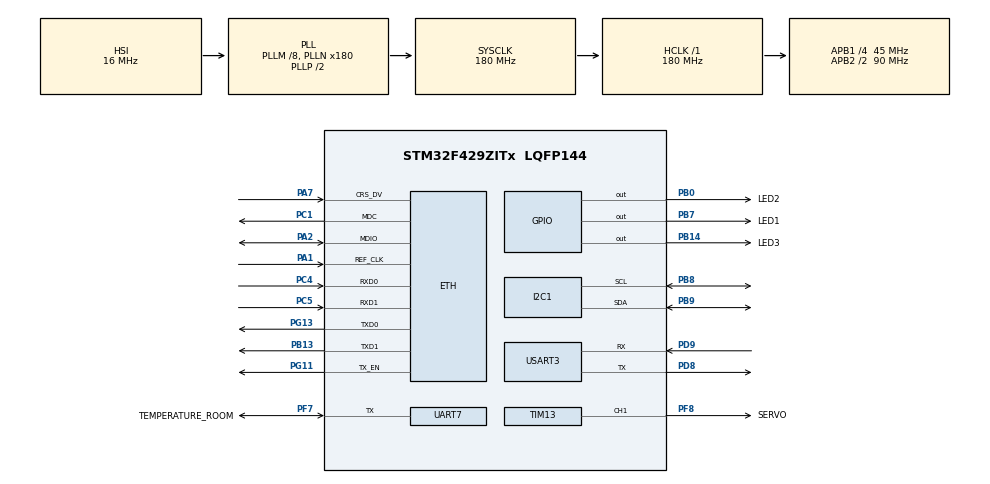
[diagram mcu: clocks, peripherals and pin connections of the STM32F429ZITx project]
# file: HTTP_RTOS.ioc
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ADC1.Channel-2\#ChannelRegularConversion=ADC_CHANNEL_TEMPSENSOR
ADC1.NbrOfConversionFlag=1
ADC1.Rank-2\#ChannelRegularConversion=1
ADC1.SamplingTime-2\#ChannelRegularConversion=ADC_SAMPLETIME_3CYCLES
ADC1.master=1
Dma.I2C1_RX.0.Direction=DMA_PERIPH_TO_MEMORY
Dma.I2C1_RX.0.FIFOMode=DMA_FIFOMODE_DISABLE
Dma.I2C1_RX.0.Instance=DMA1_Stream0
Dma.I2C1_RX.0.MemDataAlignment=DMA_MDATAALIGN_BYTE
Dma.I2C1_RX.0.MemInc=DMA_MINC_ENABLE
Dma.I2C1_RX.0.Mode=DMA_NORMAL
Dma.I2C1_RX.0.PeriphDataAlignment=DMA_PDATAALIGN_BYTE
Dma.I2C1_RX.0.PeriphInc=DMA_PINC_DISABLE
Dma.I2C1_RX.0.Priority=DMA_PRIORITY_LOW
Dma.Request0=I2C1_RX
ETH.MediaInterface=HAL_ETH_RMII_MODE
ETH.RxMode=ETH_RXINTERRUPT_MODE
FREERTOS.BinarySemaphores01=DMA_Semafor,Dynamic,NULL
FREERTOS.Tasks01=defaultTask,0,512,StartDefaultTask,Default,NULL,Dynamic,NULL,NULL;Temperature_TAS,0,512,StartTask02,Default,NULL,Dynamic,NULL,NULL
FREERTOS.configCHECK_FOR_STACK_OVERFLOW=2
FREERTOS.configENABLE_FPU=1
FREERTOS.configMINIMAL_STACK_SIZE=512
FREERTOS.configTOTAL_HEAP_SIZE=32768
FREERTOS.configUSE_NEWLIB_REENTRANT=1
I2C1.I2C_Mode=I2C_Standard
I2C1.NoStretchMode=I2C_NOSTRETCH_DISABLE
LWIP.BSP.number=1
LWIP.CMSIS_VERSION-Enabled=1
LWIP.GATEWAY_ADDRESS=192.168.001.001
LWIP.HTTPD_SERVER_PORT=80
LWIP.HTTPD_USE_CUSTOM_FSDATA=1
LWIP.IP_ADDRESS=192.168.001.048
LWIP.LWIP_DHCP=0
LWIP.LWIP_HTTPD=1
LWIP.LWIP_HTTPD_SSI=0
LWIP.MEM_SIZE=10*1024
LWIP.NETMASK_ADDRESS=255.255.255.000
LWIP.Version=v2.1.2_Cube
LWIP0.BSP.STBoard=false
LWIP0.BSP.api=BSP_COMPONENT_DRIVER
LWIP0.BSP.component=LAN8742
LWIP0.BSP.instance=LAN8742
LWIP0.BSP.name=Driver_PHY
LWIP0.BSP.semaphore=S_LAN8742
LWIP0.BSP.solution=LAN8742
Mcu.Family=STM32F4
Mcu.Name=STM32F429ZITx
Mcu.Package=LQFP144
NVIC.ADC_IRQn=true\:5\:0\:false\:false\:true\:true\:true\:true\:true
NVIC.DMA1_Stream0_IRQn=true\:5\:0\:false\:false\:true\:true\:false\:true\:true
NVIC.ETH_IRQn=true\:5\:0\:false\:false\:true\:true\:false\:true\:true
NVIC.I2C1_EV_IRQn=true\:5\:0\:false\:false\:true\:true\:true\:true\:true
NVIC.PriorityGroup=NVIC_PRIORITYGROUP_4
NVIC.TIM6_DAC_IRQn=true\:15\:0\:false\:false\:true\:false\:false\:true\:true
NVIC.TimeBase=TIM6_DAC_IRQn
NVIC.TimeBaseIP=TIM6
NVIC.USART3_IRQn=true\:5\:0\:false\:false\:true\:true\:true\:true\:true
PA1.Mode=RMII
PA1.Signal=ETH_REF_CLK
PA13.Mode=Trace_Asynchronous_SW
PA13.Signal=SYS_JTMS-SWDIO
PA14.Mode=Trace_Asynchronous_SW
PA14.Signal=SYS_JTCK-SWCLK
PA2.Mode=RMII
PA2.Signal=ETH_MDIO
PA7.Mode=RMII
PA7.Signal=ETH_CRS_DV
PB0.GPIO_Label=LED2
PB0.Signal=GPIO_Output
PB13.Mode=RMII
PB13.Signal=ETH_TXD1
PB14.GPIO_Label=LED3
PB14.Signal=GPIO_Output
PB3.Mode=Trace_Asynchronous_SW
PB3.Signal=SYS_JTDO-SWO
PB7.GPIO_Label=LED1
PB7.Signal=GPIO_Output
PB8.GPIO_Pu=GPIO_PULLUP
PB8.Mode=I2C
PB8.Signal=I2C1_SCL
PB9.GPIO_Pu=GPIO_PULLUP
PB9.Mode=I2C
PB9.Signal=I2C1_SDA
PC1.Mode=RMII
PC1.Signal=ETH_MDC
PC14/OSC32_IN.Mode=LSE-External-Oscillator
PC14/OSC32_IN.Signal=RCC_OSC32_IN
PC15/OSC32_OUT.Mode=LSE-External-Oscillator
PC15/OSC32_OUT.Signal=RCC_OSC32_OUT
PC4.Mode=RMII
PC4.Signal=ETH_RXD0
PC5.Mode=RMII
PC5.Signal=ETH_RXD1
PD8.Mode=Asynchronous
PD8.Signal=USART3_TX
PD9.Mode=Asynchronous
PD9.Signal=USART3_RX
PF7.GPIO_Label=TEMPERATURE_ROOM
PF7.Mode=Half_duplex(single_wire_mode)
PF7.Signal=UART7_TX
PF8.GPIO_Label=SERVO
PF8.Signal=S_TIM13_CH1
PG11.Mode=RMII
PG11.Signal=ETH_TX_EN
PG13.Mode=RMII
PG13.Signal=ETH_TXD0
PH0/OSC_IN.Mode=HSE-External-Clock-Source
PH0/OSC_IN.Signal=RCC_OSC_IN
PH1/OSC_OUT.Mode=HSE-External-Clock-Source
PH1/OSC_OUT.Signal=RCC_OSC_OUT
ProjectManager.HeapSize=0x200
ProjectManager.StackSize=0x400
ProjectManager.TargetToolchain=STM32CubeIDE
RCC.48MHZClocksFreq_Value=51428571.428571425
RCC.AHBFreq_Value=180000000
RCC.APB1CLKDivider=RCC_HCLK_DIV4
RCC.APB1Freq_Value=45000000
RCC.APB1TimFreq_Value=90000000
RCC.APB2CLKDivider=RCC_HCLK_DIV2
RCC.APB2Freq_Value=90000000
RCC.APB2TimFreq_Value=180000000
RCC.CortexFreq_Value=180000000
RCC.HCLKFreq_Value=180000000
RCC.HSE_VALUE=8000000
RCC.HSI_VALUE=16000000
RCC.PLLM=8
RCC.PLLMUL=RCC_PLL_MUL9
RCC.PLLN=180
RCC.PLLQ=7
RCC.PRESCALERUSB=RCC_USBCLKSOURCE_PLL_DIV1_5
RCC.SYSCLKFreq_VALUE=180000000
RCC.SYSCLKSource=RCC_SYSCLKSOURCE_PLLCLK
RCC.SYSCLKSourceVirtual=RCC_SYSCLKSOURCE_PLLCLK
RCC.USBFreq_Value=48000000
RCC.VCOOutputFreq_Value=360000000
SH.S_TIM13_CH1.0=TIM13_CH1,PWM Generation1 CH1
TIM13.Channel=TIM_CHANNEL_1
TIM13.Period=20000-1
TIM13.Prescaler=90-1
TIM13.Pulse=1000
UART7.BaudRate=9600
UART7.VirtualMode=Asynchronous
UART7.WordLength=WORDLENGTH_8B
USART3.VirtualMode=VM_ASYNC
VP_ADC1_TempSens_Input.Mode=IN-TempSens
VP_FREERTOS_VS_CMSIS_V1.Mode=CMSIS_V1
VP_LWIP_VS_Enabled.Mode=Enabled
VP_SYS_VS_tim6.Mode=TIM6
VP_TIM13_VS_ClockSourceINT.Mode=Enable_Timer
board=NUCLEO-F429ZI

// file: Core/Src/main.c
/* USER CODE BEGIN Header */
/**
  ******************************************************************************
  * @file           : main.c
  * @brief          : Main program body
  ******************************************************************************
  * @attention
  *
  * Copyright (c) 2023 STMicroelectronics.
  * All rights reserved.
  *
  * This software is licensed under terms that can be found in the LICENSE file
  * in the root directory of this software component.
  * If no LICENSE file comes with this software, it is provided AS-IS.
  *
  ******************************************************************************
  */
/* USER CODE END Header */
#include "main.h"
#include "cmsis_os.h"
#include "lwip.h"

/* USER CODE BEGIN Includes */
#include "lwip/apps/httpd.h"
#include "httpserver.h"
#include <stdbool.h>
#include <string.h>
#include <stdio.h>
#include "Servo.h"
#include "sht3x.h"
//#include "freertos.h"

/* USER CODE END Includes */

ADC_HandleTypeDef hadc1;

I2C_HandleTypeDef hi2c1;
DMA_HandleTypeDef hdma_i2c1_rx;

TIM_HandleTypeDef htim13;

UART_HandleTypeDef huart7;
UART_HandleTypeDef huart3;

osThreadId defaultTaskHandle;
osThreadId Temperature_TASHandle;
osSemaphoreId DMA_SemaforHandle;
/* USER CODE BEGIN PV */

//ADC
volatile float Processor_temperature;

// I2C
volatile float Room_temperature, humidity;

//Port Szeregowy
uint8_t Received;
char *buffor;

//serwomechanizm
volatile bool test_servo = false;
volatile uint8_t  Actual_angle_value;

/* USER CODE END PV */

void SystemClock_Config(void);
static void MX_GPIO_Init(void);
static void MX_DMA_Init(void);
static void MX_ADC1_Init(void);
static void MX_USART3_UART_Init(void);
static void MX_TIM13_Init(void);
static void MX_UART7_Init(void);
static void MX_I2C1_Init(void);
void StartDefaultTask(void const * argument);
void StartTask02(void const * argument);

/* USER CODE BEGIN PFP */

//ADC
void HAL_ADC_ConvCpltCallback(ADC_HandleTypeDef *hadc);
void HAL_TIM_PeriodElapsedCallback(TIM_HandleTypeDef *htim);

//Port Szeregowy
void HAL_UART_RxCpltCallback(UART_HandleTypeDef *huart);
void BUFFOR_Init();
char* Recalloc(char *text);

/* USER CODE END PFP */

/* USER CODE BEGIN 0 */

void HAL_ADC_ConvCpltCallback(ADC_HandleTypeDef *hadc){
	if(hadc->Instance == ADC1){
		float Bitvalue =  HAL_ADC_GetValue(hadc);
		float Vsens = (Bitvalue*3.3)/4095.0;
		Processor_temperature = ((Vsens-0.76)/0.0025)+25;
	}
}
void HAL_UART_RxCpltCallback(UART_HandleTypeDef *huart){
	if(huart->Instance == USART3){
		if(Received != (uint8_t)'\r'){
			*(buffor+strlen(buffor)) = Received;
			buffor = Recalloc(buffor);
		}else{

			if(test_servo == true){
				Actual_angle_value = (uint8_t)strtoul( buffor, NULL, 0 );
				Servo_set_angle(Actual_angle_value);
				test_servo = false;
				strcat(buffor,"\r\n");
				printf("%s",buffor);

			}else{
				if(strcmp(buffor,(char*)"servo") == 0){
					printf("Wpisz kat:\n");
					test_servo = true;
				}else{
					strcat(buffor,"\r\n");
					printf("%s",buffor);
				}
			}
			free(buffor);
			BUFFOR_Init();
		}
		HAL_UART_Receive_IT(&huart3, &Received, 1);
	}

}
int __io_putchar(int ch)
{

	if(ch == (int)'\n'){
		HAL_UART_Transmit(&huart3, (uint8_t*)"\r\n" , 2, 200);
	}else{
		HAL_UART_Transmit(&huart3, (uint8_t*)&ch, 1, 200);
	}

    return 1;
}

void BUFFOR_Init(){
	buffor = calloc(2,sizeof(char));
	if(buffor == NULL){
		printf("Error: Problem Z alokacja\n");
	}

}

char* Recalloc(char *text){
	size_t size = strlen(text);
	char* New_Text = calloc(size + 2, sizeof(char));
	if(New_Text == NULL){
			printf("Error: Problem Z alokacja\n");
		}
	for(size_t i = 0; i <=size; i++){
		New_Text[i] = text[i];
	}
	free(text);
	return New_Text;
}

/* USER CODE END 0 */

int main(void)
{

  /* MCU Configuration--------------------------------------------------------*/

  /* Reset of all peripherals, Initializes the Flash interface and the Systick. */
  HAL_Init();

  /* Configure the system clock */
  SystemClock_Config();

  /* Initialize all configured peripherals */
  MX_GPIO_Init();
  MX_DMA_Init();
  MX_ADC1_Init();
  MX_USART3_UART_Init();
  MX_TIM13_Init();
  MX_UART7_Init();
  MX_I2C1_Init();
  /* USER CODE BEGIN 2 */
  BUFFOR_Init();
  Servo_Init(&htim13, TIM_CHANNEL_1);

  HAL_UART_Receive_IT(&huart3, &Received, 1);

  /* USER CODE END 2 */

  /* Create the semaphores(s) */
  /* definition and creation of DMA_Semafor */
  osSemaphoreDef(DMA_Semafor);
  DMA_SemaforHandle = osSemaphoreCreate(osSemaphore(DMA_Semafor), 1);

  /* Create the thread(s) */
  /* definition and creation of defaultTask */
  osThreadDef(defaultTask, StartDefaultTask, osPriorityNormal, 0, 512);
  defaultTaskHandle = osThreadCreate(osThread(defaultTask), NULL);

  /* definition and creation of Temperature_TAS */
  osThreadDef(Temperature_TAS, StartTask02, osPriorityNormal, 0, 512);
  Temperature_TASHandle = osThreadCreate(osThread(Temperature_TAS), NULL);

  /* Start scheduler */
  osKernelStart();

  /* We should never get here as control is now taken by the scheduler */
  /* Infinite loop */
  while (1)
  {

  }
}

void SystemClock_Config(void)
{
  RCC_OscInitTypeDef RCC_OscInitStruct = {0};
  RCC_ClkInitTypeDef RCC_ClkInitStruct = {0};

  /** Configure the main internal regulator output voltage
  */
  __HAL_RCC_PWR_CLK_ENABLE();
  __HAL_PWR_VOLTAGESCALING_CONFIG(PWR_REGULATOR_VOLTAGE_SCALE1);

  /** Initializes the RCC Oscillators according to the specified parameters
  * in the RCC_OscInitTypeDef structure.
  */
  RCC_OscInitStruct.OscillatorType = RCC_OSCILLATORTYPE_HSI;
  RCC_OscInitStruct.HSIState = RCC_HSI_ON;
  RCC_OscInitStruct.HSICalibrationValue = RCC_HSICALIBRATION_DEFAULT;
  RCC_OscInitStruct.PLL.PLLState = RCC_PLL_ON;
  RCC_OscInitStruct.PLL.PLLSource = RCC_PLLSOURCE_HSI;
  RCC_OscInitStruct.PLL.PLLM = 8;
  RCC_OscInitStruct.PLL.PLLN = 180;
  RCC_OscInitStruct.PLL.PLLP = RCC_PLLP_DIV2;
  RCC_OscInitStruct.PLL.PLLQ = 7;
  if (HAL_RCC_OscConfig(&RCC_OscInitStruct) != HAL_OK)
  {
    Error_Handler();
  }

  /** Activate the Over-Drive mode
  */
  if (HAL_PWREx_EnableOverDrive() != HAL_OK)
  {
    Error_Handler();
  }

  /** Initializes the CPU, AHB and APB buses clocks
  */
  RCC_ClkInitStruct.ClockType = RCC_CLOCKTYPE_HCLK|RCC_CLOCKTYPE_SYSCLK
                              |RCC_CLOCKTYPE_PCLK1|RCC_CLOCKTYPE_PCLK2;
  RCC_ClkInitStruct.SYSCLKSource = RCC_SYSCLKSOURCE_PLLCLK;
  RCC_ClkInitStruct.AHBCLKDivider = RCC_SYSCLK_DIV1;
  RCC_ClkInitStruct.APB1CLKDivider = RCC_HCLK_DIV4;
  RCC_ClkInitStruct.APB2CLKDivider = RCC_HCLK_DIV2;

  if (HAL_RCC_ClockConfig(&RCC_ClkInitStruct, FLASH_LATENCY_5) != HAL_OK)
  {
    Error_Handler();
  }
}

static void MX_ADC1_Init(void)
{

  ADC_ChannelConfTypeDef sConfig = {0};

  /** Configure the global features of the ADC (Clock, Resolution, Data Alignment and number of conversion)
  */
  hadc1.Instance = ADC1;
  hadc1.Init.ClockPrescaler = ADC_CLOCK_SYNC_PCLK_DIV4;
  hadc1.Init.Resolution = ADC_RESOLUTION_12B;
  hadc1.Init.ScanConvMode = DISABLE;
  hadc1.Init.ContinuousConvMode = DISABLE;
  hadc1.Init.DiscontinuousConvMode = DISABLE;
  hadc1.Init.ExternalTrigConvEdge = ADC_EXTERNALTRIGCONVEDGE_NONE;
  hadc1.Init.ExternalTrigConv = ADC_SOFTWARE_START;
  hadc1.Init.DataAlign = ADC_DATAALIGN_RIGHT;
  hadc1.Init.NbrOfConversion = 1;
  hadc1.Init.DMAContinuousRequests = DISABLE;
  hadc1.Init.EOCSelection = ADC_EOC_SINGLE_CONV;
  if (HAL_ADC_Init(&hadc1) != HAL_OK)
  {
    Error_Handler();
  }

  /** Configure for the selected ADC regular channel its corresponding rank in the sequencer and its sample time.
  */
  sConfig.Channel = ADC_CHANNEL_TEMPSENSOR;
  sConfig.Rank = 1;
  sConfig.SamplingTime = ADC_SAMPLETIME_3CYCLES;
  if (HAL_ADC_ConfigChannel(&hadc1, &sConfig) != HAL_OK)
  {
    Error_Handler();
  }

}

static void MX_I2C1_Init(void)
{

  hi2c1.Instance = I2C1;
  hi2c1.Init.ClockSpeed = 100000;
  hi2c1.Init.DutyCycle = I2C_DUTYCYCLE_2;
  hi2c1.Init.OwnAddress1 = 0;
  hi2c1.Init.AddressingMode = I2C_ADDRESSINGMODE_7BIT;
  hi2c1.Init.DualAddressMode = I2C_DUALADDRESS_DISABLE;
  hi2c1.Init.OwnAddress2 = 0;
  hi2c1.Init.GeneralCallMode = I2C_GENERALCALL_DISABLE;
  hi2c1.Init.NoStretchMode = I2C_NOSTRETCH_DISABLE;
  if (HAL_I2C_Init(&hi2c1) != HAL_OK)
  {
    Error_Handler();
  }

  /** Configure Analogue filter
  */
  if (HAL_I2CEx_ConfigAnalogFilter(&hi2c1, I2C_ANALOGFILTER_ENABLE) != HAL_OK)
  {
    Error_Handler();
  }

  /** Configure Digital filter
  */
  if (HAL_I2CEx_ConfigDigitalFilter(&hi2c1, 0) != HAL_OK)
  {
    Error_Handler();
  }

}

static void MX_TIM13_Init(void)
{

  TIM_OC_InitTypeDef sConfigOC = {0};

  htim13.Instance = TIM13;
  htim13.Init.Prescaler = 90-1;
  htim13.Init.CounterMode = TIM_COUNTERMODE_UP;
  htim13.Init.Period = 20000-1;
  htim13.Init.ClockDivision = TIM_CLOCKDIVISION_DIV1;
  htim13.Init.AutoReloadPreload = TIM_AUTORELOAD_PRELOAD_DISABLE;
  if (HAL_TIM_Base_Init(&htim13) != HAL_OK)
  {
    Error_Handler();
  }
  if (HAL_TIM_PWM_Init(&htim13) != HAL_OK)
  {
    Error_Handler();
  }
  sConfigOC.OCMode = TIM_OCMODE_PWM1;
  sConfigOC.Pulse = 1000;
  sConfigOC.OCPolarity = TIM_OCPOLARITY_HIGH;
  sConfigOC.OCFastMode = TIM_OCFAST_DISABLE;
  if (HAL_TIM_PWM_ConfigChannel(&htim13, &sConfigOC, TIM_CHANNEL_1) != HAL_OK)
  {
    Error_Handler();
  }
  HAL_TIM_MspPostInit(&htim13);

}

static void MX_UART7_Init(void)
{

  huart7.Instance = UART7;
  huart7.Init.BaudRate = 9600;
  huart7.Init.WordLength = UART_WORDLENGTH_8B;
  huart7.Init.StopBits = UART_STOPBITS_1;
  huart7.Init.Parity = UART_PARITY_NONE;
  huart7.Init.Mode = UART_MODE_TX_RX;
  huart7.Init.HwFlowCtl = UART_HWCONTROL_NONE;
  huart7.Init.OverSampling = UART_OVERSAMPLING_16;
  if (HAL_HalfDuplex_Init(&huart7) != HAL_OK)
  {
    Error_Handler();
  }

}

static void MX_USART3_UART_Init(void)
{

  huart3.Instance = USART3;
  huart3.Init.BaudRate = 115200;
  huart3.Init.WordLength = UART_WORDLENGTH_8B;
  huart3.Init.StopBits = UART_STOPBITS_1;
  huart3.Init.Parity = UART_PARITY_NONE;
  huart3.Init.Mode = UART_MODE_TX_RX;
  huart3.Init.HwFlowCtl = UART_HWCONTROL_NONE;
  huart3.Init.OverSampling = UART_OVERSAMPLING_16;
  if (HAL_UART_Init(&huart3) != HAL_OK)
  {
    Error_Handler();
  }

}

static void MX_DMA_Init(void)
{

  /* DMA controller clock enable */
  __HAL_RCC_DMA1_CLK_ENABLE();

  /* DMA interrupt init */
  /* DMA1_Stream0_IRQn interrupt configuration */
  HAL_NVIC_SetPriority(DMA1_Stream0_IRQn, 5, 0);
  HAL_NVIC_EnableIRQ(DMA1_Stream0_IRQn);

}

static void MX_GPIO_Init(void)
{
  GPIO_InitTypeDef GPIO_InitStruct = {0};

  /* GPIO Ports Clock Enable */
  __HAL_RCC_GPIOC_CLK_ENABLE();
  __HAL_RCC_GPIOF_CLK_ENABLE();
  __HAL_RCC_GPIOH_CLK_ENABLE();
  __HAL_RCC_GPIOA_CLK_ENABLE();
  __HAL_RCC_GPIOB_CLK_ENABLE();
  __HAL_RCC_GPIOD_CLK_ENABLE();
  __HAL_RCC_GPIOG_CLK_ENABLE();

  /*Configure GPIO pin Output Level */
  HAL_GPIO_WritePin(GPIOB, LED2_Pin|LED3_Pin|LED1_Pin, GPIO_PIN_RESET);

  /*Configure GPIO pins : LED2_Pin LED3_Pin LED1_Pin */
  GPIO_InitStruct.Pin = LED2_Pin|LED3_Pin|LED1_Pin;
  GPIO_InitStruct.Mode = GPIO_MODE_OUTPUT_PP;
  GPIO_InitStruct.Pull = GPIO_NOPULL;
  GPIO_InitStruct.Speed = GPIO_SPEED_FREQ_LOW;
  HAL_GPIO_Init(GPIOB, &GPIO_InitStruct);

}

void StartDefaultTask(void const * argument)
{
  /* init code for LWIP */
  MX_LWIP_Init();
  /* USER CODE BEGIN 5 */
	http_server_init();;

  /* Infinite loop */
  for(;;)
  {
	HAL_ADC_Start_IT(&hadc1);
    osDelay(1000);
  }
  /* USER CODE END 5 */
}

void StartTask02(void const * argument)
{
  /* USER CODE BEGIN StartTask02 */
  /* Infinite loop */
	sht3x_handle_t handle = {
		.i2c_handle = &hi2c1,
		.device_address = SHT3X_I2C_DEVICE_ADDRESS_ADDR_PIN_LOW

	};
	if (!sht3x_init(&handle)) {
	    printf("SHT3x access failed.\n\r");
	}

  for(;;)
  {
	sht3x_read_temperature_and_humidity(&handle, &Room_temperature, &humidity);

    osDelay(8000);
  }
  /* USER CODE END StartTask02 */
}

void HAL_TIM_PeriodElapsedCallback(TIM_HandleTypeDef *htim)
{
  if (htim->Instance == TIM6) {
    HAL_IncTick();
  }
}

void Error_Handler(void)
{
  __disable_irq();
  while (1)
  {
  }
}

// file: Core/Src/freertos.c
/* USER CODE BEGIN Header */
/**
  ******************************************************************************
  * File Name          : freertos.c
  * Description        : Code for freertos applications
  ******************************************************************************
  * @attention
  *
  * Copyright (c) 2023 STMicroelectronics.
  * All rights reserved.
  *
  * This software is licensed under terms that can be found in the LICENSE file
  * in the root directory of this software component.
  * If no LICENSE file comes with this software, it is provided AS-IS.
  *
  ******************************************************************************
  */
/* USER CODE END Header */

#include "FreeRTOS.h"
#include "task.h"
#include "main.h"

/* GetIdleTaskMemory prototype (linked to static allocation support) */
void vApplicationGetIdleTaskMemory( StaticTask_t **ppxIdleTaskTCBBuffer, StackType_t **ppxIdleTaskStackBuffer, uint32_t *pulIdleTaskStackSize );

/* Hook prototypes */
void vApplicationStackOverflowHook(xTaskHandle xTask, signed char *pcTaskName);

/* USER CODE BEGIN 4 */
__weak void vApplicationStackOverflowHook(xTaskHandle xTask, signed char *pcTaskName)
{
   /* Run time stack overflow checking is performed if
   configCHECK_FOR_STACK_OVERFLOW is defined to 1 or 2. This hook function is
   called if a stack overflow is detected. */
}
/* USER CODE END 4 */

/* USER CODE BEGIN GET_IDLE_TASK_MEMORY */
static StaticTask_t xIdleTaskTCBBuffer;
static StackType_t xIdleStack[configMINIMAL_STACK_SIZE];

void vApplicationGetIdleTaskMemory( StaticTask_t **ppxIdleTaskTCBBuffer, StackType_t **ppxIdleTaskStackBuffer, uint32_t *pulIdleTaskStackSize )
{
  *ppxIdleTaskTCBBuffer = &xIdleTaskTCBBuffer;
  *ppxIdleTaskStackBuffer = &xIdleStack[0];
  *pulIdleTaskStackSize = configMINIMAL_STACK_SIZE;
  /* place for user code */
}
/* USER CODE END GET_IDLE_TASK_MEMORY */
